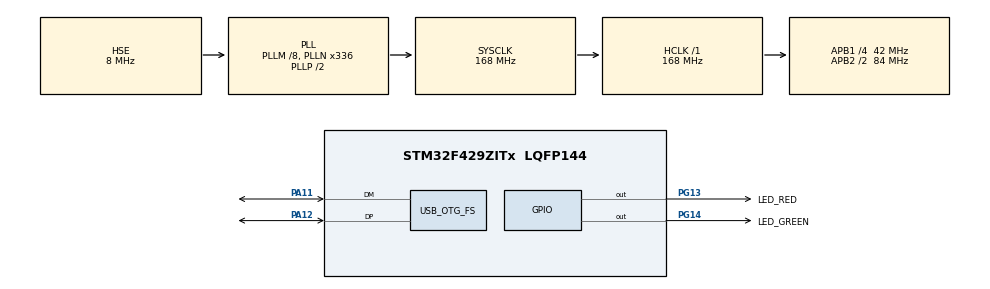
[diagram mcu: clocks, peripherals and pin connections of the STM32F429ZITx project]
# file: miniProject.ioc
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FREERTOS.Tasks01=GyroSample,24,1024,StartGyroSample,Default,NULL,Dynamic,NULL,NULL;DisplayLCD,23,1024,StartDisplayLCD,Default,NULL,Dynamic,NULL,NULL;TrackBall,16,512,StartTrackBall,Default,NULL,Dynamic,NULL,NULL;TurnLedOff,22,128,StartTurnLedOff,Default,NULL,Dynamic,NULL,NULL
FREERTOS.configUSE_NEWLIB_REENTRANT=1
Mcu.Family=STM32F4
Mcu.Name=STM32F429ZITx
Mcu.Package=LQFP144
NVIC.OTG_FS_IRQn=true\:5\:0\:false\:false\:true\:true\:false\:true\:true
NVIC.PriorityGroup=NVIC_PRIORITYGROUP_4
NVIC.TIM6_DAC_IRQn=true\:15\:0\:false\:false\:true\:false\:false\:true\:true
NVIC.TimeBase=TIM6_DAC_IRQn
NVIC.TimeBaseIP=TIM6
PA11.Mode=Device_Only
PA11.Signal=USB_OTG_FS_DM
PA12.Mode=Device_Only
PA12.Signal=USB_OTG_FS_DP
PA13.Mode=Serial_Wire
PA13.Signal=SYS_JTMS-SWDIO
PA14.Mode=Serial_Wire
PA14.Signal=SYS_JTCK-SWCLK
PG13.GPIO_Label=LED_RED
PG13.Signal=GPIO_Output
PG14.GPIO_Label=LED_GREEN
PG14.Signal=GPIO_Output
PH0/OSC_IN.Mode=HSE-External-Oscillator
PH0/OSC_IN.Signal=RCC_OSC_IN
PH1/OSC_OUT.Mode=HSE-External-Oscillator
PH1/OSC_OUT.Signal=RCC_OSC_OUT
ProjectManager.HeapSize=0x200
ProjectManager.StackSize=0x400
ProjectManager.TargetToolchain=STM32CubeIDE
RCC.48MHZClocksFreq_Value=48000000
RCC.AHBFreq_Value=168000000
RCC.APB1CLKDivider=RCC_HCLK_DIV4
RCC.APB1Freq_Value=42000000
RCC.APB1TimFreq_Value=84000000
RCC.APB2CLKDivider=RCC_HCLK_DIV2
RCC.APB2Freq_Value=84000000
RCC.APB2TimFreq_Value=168000000
RCC.CortexFreq_Value=168000000
RCC.HCLKFreq_Value=168000000
RCC.HSE_VALUE=8000000
RCC.HSI_VALUE=16000000
RCC.LSE_VALUE=32768
RCC.PLLM=8
RCC.PLLN=336
RCC.PLLQ=7
RCC.SYSCLKFreq_VALUE=168000000
RCC.SYSCLKSource=RCC_SYSCLKSOURCE_PLLCLK
RCC.VCOOutputFreq_Value=336000000
USB_DEVICE.CLASS_NAME_FS=CDC
USB_DEVICE.VirtualMode-CDC_FS=Cdc
USB_DEVICE.VirtualModeFS=Cdc_FS
USB_OTG_FS.VirtualMode=Device_Only
VP_FREERTOS_VS_CMSIS_V2.Mode=CMSIS_V2
VP_SYS_VS_tim6.Mode=TIM6
VP_USB_DEVICE_VS_USB_DEVICE_CDC_FS.Mode=CDC_FS
board=custom

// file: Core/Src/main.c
/* USER CODE BEGIN Header */
/**
  ******************************************************************************
  * @file           : main.c
  * @brief          : Main program body
  ******************************************************************************
  * @attention
  *
  * Copyright (c) 2023 STMicroelectronics.
  * All rights reserved.
  *
  * This software is licensed under terms that can be found in the LICENSE file
  * in the root directory of this software component.
  * If no LICENSE file comes with this software, it is provided AS-IS.
  *
  ******************************************************************************
  */
/* USER CODE END Header */
#include "main.h"
#include "cmsis_os.h"
#include "usb_device.h"

/* USER CODE BEGIN Includes */
#include "stm32f429i_discovery_lcd.h"
#include "stm32f429i_discovery_gyroscope.h"
#include "stdio.h"
#include "usbd_cdc_if.h"
#include "math.h"
/* USER CODE END Includes */

/* USER CODE BEGIN PD */
#define SAMPLE_PERIOD_MS 10 // ms
#define PIXEL_PER_METER 200.0
#define LCD_HEIGHT_PX 320
#define LCD_WIDTH_PX 240
#define BALL_RADIUS_PX 20
#define LCD_HEIGHT (float)LCD_HEIGHT_PX / PIXEL_PER_METER
#define LCD_WIDTH (float)LCD_WIDTH_PX / PIXEL_PER_METER
#define BALL_RADIUS (float)BALL_RADIUS_PX / PIXEL_PER_METER
#define OFFSET 4.4 // do nhay
#define MAX_Y OFFSET + LCD_HEIGHT
#define MIN_Y OFFSET + BALL_RADIUS
#define MAX_X LCD_WIDTH / 2.0
#define MIN_X -MAX_X
#define MAX_Z 8.0 // 8m
#define MIN_Z 0
#define TOP_HEIGHT (float)(LCD_WIDTH / 2.0 - BALL_RADIUS) * MAX_Z / (LCD_WIDTH / 2.0 - 2*BALL_RADIUS)
#define G_FORCE 9.8
/* USER CODE END PD */

/* USER CODE BEGIN PM */
typedef struct {
    float x;
    float y;
    float z;
} vector;

typedef struct {
	vector root;
	vector velocity;
	vector current;
	float time;
} BALL;

typedef enum {
	GAME_PLAYING = 0,
	GAME_OVER
} Game_State;

typedef enum {
	DOWN = 0,
	UP,
	BLANK
} Racket_Status;

typedef struct {
	vector angle;
	vector angularVelocity;
} GYRO;

Racket_Status racketState_X = BLANK;
Racket_Status racketState_Y = BLANK;
Racket_Status racketPreState_X = BLANK;
Racket_Status racketPreState_Y = BLANK;
Game_State gameState = GAME_PLAYING;
uint16_t score = 0;
BALL ball;
GYRO gyro;

void updateBallCoordinates() {
    if(ball.current.z == 0 && ball.time > 0.2)
    	return;

    ball.current.x = ball.root.x + ball.time*ball.velocity.x;
    ball.current.y = ball.root.y + ball.time*ball.velocity.y;
    ball.current.z = ball.root.z + ball.time*ball.velocity.z - 0.5*G_FORCE*ball.time*ball.time;

    if(ball.current.z < 0)
    	ball.current.z = 0;
}

vector crossProduct(vector A, vector B) {
    vector result;

    result.x = A.y*B.z - A.z*B.y;
    result.y = A.z*B.x - A.x*B.z;
    result.z = A.x*B.y - A.y*B.x;

    return result;
}

uint16_t getShadowRadiusPx(float z) {
    if(z > MAX_Z)
        z = MAX_Z;

    return (uint16_t)(BALL_RADIUS*TOP_HEIGHT / (TOP_HEIGHT - z) * PIXEL_PER_METER);
}

void setVector(vector* v, float x, float y, float z) {
	v->x = x;
	v->y = y;
	v->z = z;
}

// convert degree/s to radians/s
vector convertDpsToRds(vector v) {
	vector result;
	setVector(&result, v.x*0.0174533, v.y*0.0174533, v.z*0.0174533);
	return result;
}

float getVectorLength(vector v) {
	return sqrt(v.x*v.x + v.y*v.y + v.z*v.z);
}

void convertXYToPx(uint16_t* x, uint16_t* y, vector v) {
    const uint16_t radius = getShadowRadiusPx(v.z);
    const uint16_t max_X = LCD_WIDTH_PX - 2*radius;
    const uint16_t max_Y = LCD_HEIGHT_PX - 2*radius;

    *x = fabs(v.x) * PIXEL_PER_METER - radius;
    *y = fabs(v.y) * PIXEL_PER_METER - radius;

    uint16_t tempX = *x % max_X;
    uint16_t tempY = *y % max_Y;

    *x = (*x / max_X) % 2 == 0 ? tempX : max_X - tempX;
    *y = (*y / max_Y) % 2 == 0 ? tempY : max_Y - tempY;

    *x += radius;
    *y += radius;
}

void setRange(float* f, float min, float max) {
	if(*f < min)
		*f = min;
	else if(*f > max)
		*f = max;
}

/* USER CODE END PM */

/* Definitions for GyroSample */
osThreadId_t GyroSampleHandle;
const osThreadAttr_t GyroSample_attributes = {
  .name = "GyroSample",
  .stack_size = 1024 * 4,
  .priority = (osPriority_t) osPriorityNormal,
};
/* Definitions for DisplayLCD */
osThreadId_t DisplayLCDHandle;
const osThreadAttr_t DisplayLCD_attributes = {
  .name = "DisplayLCD",
  .stack_size = 1024 * 4,
  .priority = (osPriority_t) osPriorityBelowNormal7,
};
/* Definitions for TrackBall */
osThreadId_t TrackBallHandle;
const osThreadAttr_t TrackBall_attributes = {
  .name = "TrackBall",
  .stack_size = 512 * 4,
  .priority = (osPriority_t) osPriorityBelowNormal,
};
/* Definitions for TurnLedOff */
osThreadId_t TurnLedOffHandle;
const osThreadAttr_t TurnLedOff_attributes = {
  .name = "TurnLedOff",
  .stack_size = 128 * 4,
  .priority = (osPriority_t) osPriorityBelowNormal6,
};

void SystemClock_Config(void);
static void MX_GPIO_Init(void);
void StartGyroSample(void *argument);
void StartDisplayLCD(void *argument);
void StartTrackBall(void *argument);
void StartTurnLedOff(void *argument);

int main(void)
{

  /* MCU Configuration--------------------------------------------------------*/

  /* Reset of all peripherals, Initializes the Flash interface and the Systick. */
  HAL_Init();

  /* Configure the system clock */
  SystemClock_Config();

  /* Initialize all configured peripherals */
  MX_GPIO_Init();
  /* USER CODE BEGIN 2 */
  MX_USB_DEVICE_Init();
  BSP_GYRO_Init(); // L3GD20_FULLSCALE_500
  BSP_LCD_Init();
  BSP_LCD_LayerDefaultInit(1, SDRAM_DEVICE_ADDR);
  BSP_LCD_SelectLayer(1);//select on which layer we write
  BSP_LCD_DisplayOn();//turn on LCD
  BSP_LCD_Clear(LCD_COLOR_WHITE);//clear the LCD on white color
  BSP_LCD_SetBackColor(LCD_COLOR_WHITE);//set text background color
  BSP_LCD_SetTextColor(LCD_COLOR_BLUE);

  setVector(&ball.root, LCD_WIDTH / 2.0, LCD_HEIGHT / 2.0, MAX_Z);
  setVector(&ball.velocity, 0, 0, 0);

  /* USER CODE END 2 */

  /* Init scheduler */
  osKernelInitialize();

  /* Create the thread(s) */
  /* creation of GyroSample */
  GyroSampleHandle = osThreadNew(StartGyroSample, NULL, &GyroSample_attributes);

  /* creation of DisplayLCD */
  DisplayLCDHandle = osThreadNew(StartDisplayLCD, NULL, &DisplayLCD_attributes);

  /* creation of TrackBall */
  TrackBallHandle = osThreadNew(StartTrackBall, NULL, &TrackBall_attributes);

  /* creation of TurnLedOff */
  TurnLedOffHandle = osThreadNew(StartTurnLedOff, NULL, &TurnLedOff_attributes);

  /* Start scheduler */
  osKernelStart();

  /* We should never get here as control is now taken by the scheduler */
  /* Infinite loop */
  while (1)
  {

  }
}

void SystemClock_Config(void)
{
  RCC_OscInitTypeDef RCC_OscInitStruct = {0};
  RCC_ClkInitTypeDef RCC_ClkInitStruct = {0};

  /** Configure the main internal regulator output voltage
  */
  __HAL_RCC_PWR_CLK_ENABLE();
  __HAL_PWR_VOLTAGESCALING_CONFIG(PWR_REGULATOR_VOLTAGE_SCALE1);

  /** Initializes the RCC Oscillators according to the specified parameters
  * in the RCC_OscInitTypeDef structure.
  */
  RCC_OscInitStruct.OscillatorType = RCC_OSCILLATORTYPE_HSE;
  RCC_OscInitStruct.HSEState = RCC_HSE_ON;
  RCC_OscInitStruct.PLL.PLLState = RCC_PLL_ON;
  RCC_OscInitStruct.PLL.PLLSource = RCC_PLLSOURCE_HSE;
  RCC_OscInitStruct.PLL.PLLM = 8;
  RCC_OscInitStruct.PLL.PLLN = 336;
  RCC_OscInitStruct.PLL.PLLP = RCC_PLLP_DIV2;
  RCC_OscInitStruct.PLL.PLLQ = 7;
  if (HAL_RCC_OscConfig(&RCC_OscInitStruct) != HAL_OK)
  {
    Error_Handler();
  }

  /** Initializes the CPU, AHB and APB buses clocks
  */
  RCC_ClkInitStruct.ClockType = RCC_CLOCKTYPE_HCLK|RCC_CLOCKTYPE_SYSCLK
                              |RCC_CLOCKTYPE_PCLK1|RCC_CLOCKTYPE_PCLK2;
  RCC_ClkInitStruct.SYSCLKSource = RCC_SYSCLKSOURCE_PLLCLK;
  RCC_ClkInitStruct.AHBCLKDivider = RCC_SYSCLK_DIV1;
  RCC_ClkInitStruct.APB1CLKDivider = RCC_HCLK_DIV4;
  RCC_ClkInitStruct.APB2CLKDivider = RCC_HCLK_DIV2;

  if (HAL_RCC_ClockConfig(&RCC_ClkInitStruct, FLASH_LATENCY_5) != HAL_OK)
  {
    Error_Handler();
  }
}

static void MX_GPIO_Init(void)
{
  GPIO_InitTypeDef GPIO_InitStruct = {0};

  /* GPIO Ports Clock Enable */
  __HAL_RCC_GPIOH_CLK_ENABLE();
  __HAL_RCC_GPIOA_CLK_ENABLE();
  __HAL_RCC_GPIOG_CLK_ENABLE();

  /*Configure GPIO pin Output Level */
  HAL_GPIO_WritePin(GPIOG, LED_RED_Pin|LED_GREEN_Pin, GPIO_PIN_RESET);

  /*Configure GPIO pins : LED_RED_Pin LED_GREEN_Pin */
  GPIO_InitStruct.Pin = LED_RED_Pin|LED_GREEN_Pin;
  GPIO_InitStruct.Mode = GPIO_MODE_OUTPUT_PP;
  GPIO_InitStruct.Pull = GPIO_NOPULL;
  GPIO_InitStruct.Speed = GPIO_SPEED_FREQ_LOW;
  HAL_GPIO_Init(GPIOG, &GPIO_InitStruct);

}

/* USER CODE BEGIN 4 */
void updateRacketState() {
	racketPreState_X = racketState_X;
	racketPreState_Y = racketState_Y;

	if(gyro.angle.x < - 20)
	  racketState_X = DOWN;
	else if(gyro.angle.x > 10)
	  racketState_X = UP;

	if(gyro.angle.y < - 20)
	  racketState_X = DOWN;
	else if(gyro.angle.y > 20)
	  racketState_X = UP;
}
/* USER CODE END 4 */

void StartGyroSample(void *argument)
{
  /* init code for USB_DEVICE */
  MX_USB_DEVICE_Init();
  /* USER CODE BEGIN 5 */
  uint32_t lastTick = HAL_GetTick();
  uint32_t currentTick;
  float gyroRawData[3];
  /* Infinite loop */
  for(;;) {
		// read angular velocity
		BSP_GYRO_GetXYZ(gyroRawData);

		// Convert mdps to dps.
		for(uint8_t i = 0; i < 3; i++)
			gyroRawData[i] = gyroRawData[i] / 1000;

		currentTick = HAL_GetTick();
		uint32_t diffTimeMs = currentTick - lastTick;

		// Riemann sum - Midpoint
		gyro.angle.x += (gyroRawData[0] + gyro.angularVelocity.x) / 2.0 * diffTimeMs / 1000.0;
		gyro.angle.y += (gyroRawData[1] + gyro.angularVelocity.y) / 2.0 * diffTimeMs / 1000.0;
		gyro.angle.z += (gyroRawData[2] + gyro.angularVelocity.z) / 2.0 * diffTimeMs / 1000.0;

		setVector(&gyro.angularVelocity, gyroRawData[0], gyroRawData[1], gyroRawData[2]);

		lastTick = currentTick;
		osDelay(1); // tang toi da tan so lay mau
  }
  /* USER CODE END 5 */
}

void StartDisplayLCD(void *argument)
{
  /* USER CODE BEGIN StartDisplayLCD */
  /* Infinite loop */
  uint16_t shadowRadius;
  for(;;) {
		BSP_LCD_Clear(LCD_COLOR_WHITE);
		char string[30];
		sprintf(string, "Score: %d", score);
		BSP_LCD_DisplayStringAtLine(0, (uint8_t*)string);

	//	sprintf(string, "h: %f", ball.current.z);
	//	BSP_LCD_DisplayStringAtLine(2, (uint8_t*)string);

		sprintf(string, "Ball's height = %f", ball.current.z);
		CDC_Transmit_FS((uint8_t*)string, strlen(string));

		if(gameState == GAME_PLAYING) {
			uint16_t x, y;
			convertXYToPx(&x, &y, ball.current);
			shadowRadius = getShadowRadiusPx(ball.current.z);
			BSP_LCD_FillCircle(x, y, shadowRadius);
		}
		if(gameState == GAME_OVER) {
			BSP_LCD_DisplayStringAtLine(1, (uint8_t*)"GAME OVER!");
			HAL_GPIO_WritePin(LED3_GPIO_PORT, LED3_PIN, GPIO_PIN_SET);
			osDelay(100000);
		}
		osDelay(33);
  }
  /* USER CODE END StartDisplayLCD */
}

void StartTrackBall(void *argument)
{
  /* USER CODE BEGIN StartTrackBall */
	uint32_t lastTick = HAL_GetTick();
  /* Infinite loop */
  for(;;) {
		updateRacketState();

		// kiem tra xem vot co vua duoc danh hay khong.
		if((racketPreState_X == DOWN && racketState_X == UP) || ((racketPreState_Y != racketState_Y) && racketPreState_Y != BLANK)) {
			vector angularVelocityRadian = convertDpsToRds(gyro.angularVelocity);

			uint16_t x, y;
			convertXYToPx(&x, &y, ball.current);
			ball.root.x = (float)x / LCD_WIDTH_PX - LCD_WIDTH / 2;
			ball.root.y = (float)y / LCD_HEIGHT_PX;
			ball.root.z = ball.current.z;

			vector temp;
			temp.x = ball.root.x;
			temp.z = ball.root.y + 0.5; // 0.5 is sensitivity.
			temp.z = ball.root.z - 2.0;

			// dieu chinh lai vector van toc
			ball.velocity = crossProduct(angularVelocityRadian, temp);
			setRange(&ball.velocity.x, -2, 2); // min = -2, max = 2.
			setRange(&ball.velocity.y, -2, 2); // min = -2, max = 2
			setRange(&ball.velocity.z, 4.5, sqrt((MAX_Z - ball.current.z)*2*G_FORCE));

			ball.time = 0;

			score++;
			HAL_GPIO_WritePin(LED4_GPIO_PORT, LED4_PIN, GPIO_PIN_SET);
		}

		updateBallCoordinates();

		if(ball.current.z == 0 && ball.time > 0) {
			gameState = GAME_OVER;
		} else
			ball.time += (float)(HAL_GetTick() - lastTick) / 1000.0;

		lastTick = HAL_GetTick();
		osDelay(10);
  }
  /* USER CODE END StartTrackBall */
}

void StartTurnLedOff(void *argument)
{
  /* USER CODE BEGIN StartTurnLedOff */
  /* Infinite loop */
  for(;;)
  {
	  if(HAL_GPIO_ReadPin(LED4_GPIO_PORT, LED4_PIN) == GPIO_PIN_SET) {
		  osDelay(200);
		  HAL_GPIO_WritePin(LED4_GPIO_PORT, LED4_PIN, GPIO_PIN_RESET);
	  }
	  osDelay(10);
  }
  /* USER CODE END StartTurnLedOff */
}

void HAL_TIM_PeriodElapsedCallback(TIM_HandleTypeDef *htim)
{
  if (htim->Instance == TIM6) {
    HAL_IncTick();
  }
}

void Error_Handler(void)
{
  __disable_irq();
  while (1)
  {
  }
}
